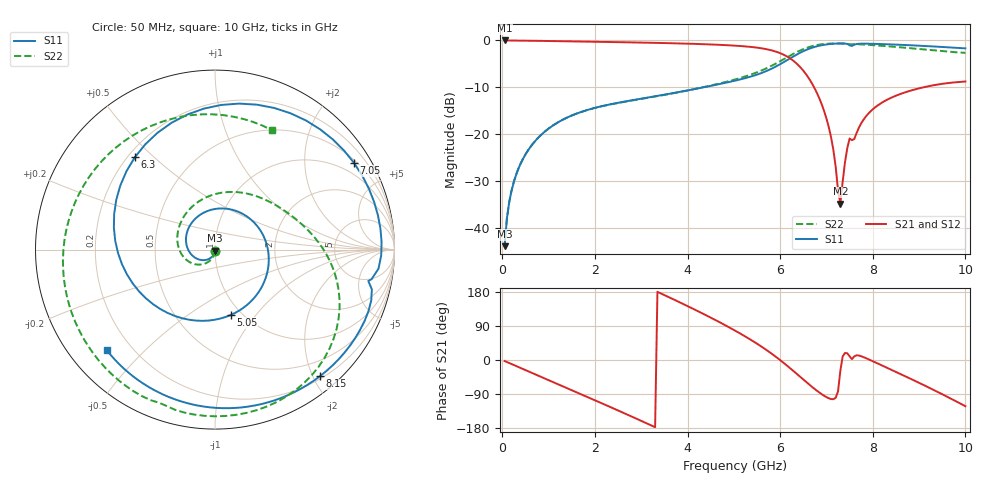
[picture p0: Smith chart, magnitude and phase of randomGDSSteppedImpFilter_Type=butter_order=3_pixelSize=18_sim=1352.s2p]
! freq	dB(S11)	phase(S11)	dB(S12)	phase(S12)
!  dB(S21)	phase(S21)	dB(S22)	phase(S22)
!S-par simulation data
#  GHz  S  DB  R 50
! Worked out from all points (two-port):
!   200 points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, 50 MHz to 10 GHz, reference 50 ohm
!   highest |S21| = 0.00 dB at 50 MHz (marker M1); lowest = -34.8 dB at 7.3 GHz (marker M2)
!   |S21| within 3 dB of the highest: start of sweep to 6.067 GHz
!   lowest |S11| = -43.9 dB at 50 MHz (marker M3), VSWR 1.01, Z = 50 - j0.639 ohm
!   |S11| at or under -10 dB: start of sweep to 4.345 GHz
!   |S22| runs from -43.7 to -0.6 dB; largest |S21 - S12| = 0
!   S11 on the Smith chart (normalised r, x): 50 MHz: 1.00, -0.01; 5.05 GHz: 0.89, -0.75; 6.3 GHz: 0.23, +0.44; 7.05 GHz: 0.59, +3.40; 8.15 GHz: 0.24, -2.11; 10 GHz: 0.11, -0.39
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0.05  -43.87 -93.0  -0.00 -2.7  -0.00 -2.7  -43.71 -91.1
0.1  -37.92 -96.2  -0.01 -5.4  -0.01 -5.4  -37.87 -93.9
0.2  -32.03 -102.9  -0.02 -10.7  -0.02 -10.7  -32.01 -98.9
0.5  -24.32 -122.4  -0.05 -26.6  -0.05 -26.6  -24.30 -112.2
1.15  -17.78 -164.4  -0.14 -61.1  -0.14 -61.1  -17.77 -139.8
1.75  -15.10 156.1  -0.24 -92.9  -0.24 -92.9  -15.11 -164.1
2.65  -13.02 94.6  -0.39 -141.3  -0.39 -141.3  -13.06 160.7
3.4  -11.74 42.7  -0.54 177.0  -0.54 177.0  -11.79 129.5
4.35  -9.99 -22.4  -0.80 121.2  -0.80 121.2  -9.95 83.9
5.05  -8.52 -76.6  -1.13 76.0  -1.13 76.0  -8.26 48.0
5.7  -6.54 -144.8  -1.86 26.8  -1.86 26.8  -5.96 16.4
6.05  -4.79 167.8  -2.92 -5.0  -2.92 -5.0  -4.16 -2.2
6.3  -3.34 131.0  -4.45 -30.5  -4.45 -30.5  -2.78 -18.3
6.7  -1.51 73.9  -9.40 -72.1  -9.40 -72.1  -1.19 -48.6
7.05  -0.79 31.9  -18.49 -101.0  -18.49 -101.0  -0.68 -75.5
7.3  -0.64 7.2  -34.82 -28.4  -34.82 -28.4  -0.65 -93.6
7.5  -1.04 -10.7  -20.91 9.7  -20.91 9.7  -0.80 -107.3
8.15  -0.76 -50.3  -13.56 -11.6  -13.56 -11.6  -1.11 -149.4
8.35  -0.83 -61.0  -12.44 -22.9  -12.44 -22.9  -1.26 -162.8
8.85  -1.04 -85.2  -10.61 -51.5  -10.61 -51.5  -1.69 161.6
9.35  -1.30 -107.4  -9.49 -81.1  -9.49 -81.1  -2.16 121.6
10  -1.69 -137.1  -8.77 -121.9  -8.77 -121.9  -2.65 64.4
